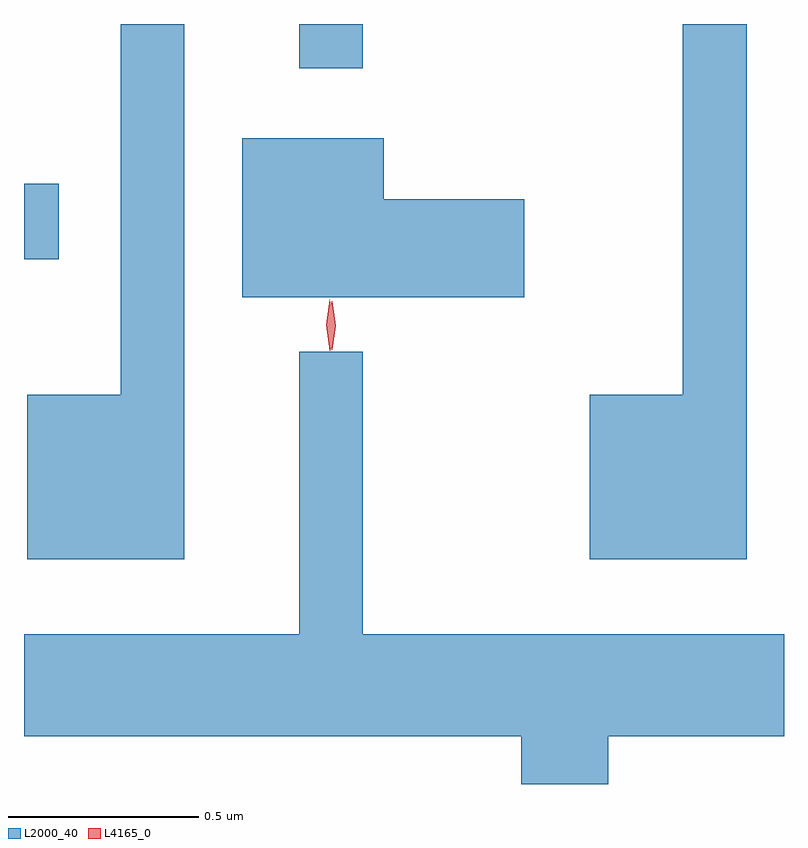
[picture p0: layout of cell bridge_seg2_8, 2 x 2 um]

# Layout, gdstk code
import gdstk
lib = gdstk.Library(unit=1e-6, precision=1e-09)
def R(c, l, rs):  # rectangles x0, y0, x1, y1
    for r in rs: c.add(gdstk.rectangle(r[:2], r[2:], *l))
def P(c, l, *ps):  # polygons
    for p in ps: c.add(gdstk.Polygon(p, *l))
L2000_40 = (2000, 40)
L4165_0 = (4165, 0)

bridge_seg2_8 = lib.new_cell('bridge_seg2_8')
R(bridge_seg2_8, L2000_40, [(1905.447,1018.491,1905.539,1018.689), (1906.171,1018.993,1906.339,1019.11)])
P(bridge_seg2_8, L2000_40, [(1905.869,1019.11),(1905.701,1019.11),(1905.701,1018.134),(1905.456,1018.134),(1905.456,1017.701),(1905.869,1017.701)],
  [(1907.349,1019.11),(1907.181,1019.11),(1907.181,1018.134),(1906.936,1018.134),(1906.936,1017.701),(1907.349,1017.701)],
  [(1906.764,1018.649),(1906.394,1018.649),(1906.394,1018.809),(1906.021,1018.809),(1906.021,1018.391),(1906.764,1018.391)],
  [(1906.984,1017.236),(1907.447,1017.236),(1907.447,1017.504),(1906.339,1017.504),(1906.339,1018.248),(1906.171,1018.248),(1906.171,1017.504),(1905.447,1017.504),(1905.447,1017.236),(1906.756,1017.236),(1906.756,1017.11),(1906.984,1017.11)])
P(bridge_seg2_8, L4165_0, [(1906.252,1018.25),(1906.242,1018.318),(1906.251,1018.385),(1906.252,1018.386),(1906.252,1018.385),(1906.262,1018.318),(1906.253,1018.25),(1906.253,1018.25)],
  [(1906.257,1018.253),(1906.248,1018.316),(1906.257,1018.38),(1906.258,1018.38),(1906.258,1018.38),(1906.268,1018.316),(1906.258,1018.253),(1906.258,1018.253)])

lib.write_gds('bridge_seg2_8.gds')
